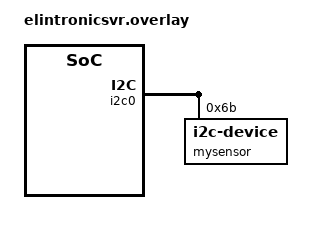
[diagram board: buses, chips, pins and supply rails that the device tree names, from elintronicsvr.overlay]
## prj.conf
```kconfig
#
# Copyright (c) 2019 Nordic Semiconductor ASA
#
# SPDX-License-Identifier: LicenseRef-Nordic-5-Clause
#
CONFIG_NCS_SAMPLES_DEFAULTS=y

CONFIG_BT=y
CONFIG_BT_DEBUG_LOG=y
CONFIG_BT_MAX_CONN=2
CONFIG_BT_MAX_PAIRED=2
CONFIG_BT_L2CAP_TX_BUF_COUNT=5
CONFIG_BT_PERIPHERAL=y
CONFIG_BT_DEVICE_NAME="vr_2_4_1_NINA"
CONFIG_BT_DEVICE_APPEARANCE=962

CONFIG_BT_BAS=y
CONFIG_BT_HIDS=y
CONFIG_BT_HIDS_MAX_CLIENT_COUNT=2
CONFIG_BT_GATT_UUID16_POOL_SIZE=40
CONFIG_BT_GATT_CHRC_POOL_SIZE=20

CONFIG_BT_CONN_CTX=y

CONFIG_BT_DIS=y
CONFIG_BT_DIS_PNP=y
CONFIG_BT_DIS_MANUF="NordicSemiconductor"
CONFIG_BT_DIS_PNP_VID_SRC=2
CONFIG_BT_DIS_PNP_VID=0x1915
CONFIG_BT_DIS_PNP_PID=0xEEEE
CONFIG_BT_DIS_PNP_VER=0x0100

CONFIG_MAIN_STACK_SIZE=1536
CONFIG_SYSTEM_WORKQUEUE_STACK_SIZE=2048

CONFIG_DK_LIBRARY=y

CONFIG_I2C=y
CONFIG_CBPRINTF_FP_SUPPORT=y

#interval and timeout settings (min 6 = 7.5 ms)
CONFIG_BT_PERIPHERAL_PREF_MIN_INT=6
CONFIG_BT_PERIPHERAL_PREF_MAX_INT=6
CONFIG_BT_PERIPHERAL_PREF_LATENCY=0
CONFIG_BT_PERIPHERAL_PREF_TIMEOUT=400
CONFIG_BT_GAP_AUTO_UPDATE_CONN_PARAMS=y
```

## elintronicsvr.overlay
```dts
// To get started, press Ctrl+Space to bring up the completion menu and view the available nodes.

// You can also use the buttons in the sidebar to perform actions on nodes.
// Actions currently available include:

// * Enabling / disabling the node
// * Adding the bus to a bus
// * Removing the node
// * Connecting ADC channels

// For more help, browse the DeviceTree documentation at https://docs.zephyrproject.org/latest/guides/dts/index.html
// You can also visit the nRF DeviceTree extension documentation at https://nrfconnect.github.io/vscode-nrf-connect/devicetree/nrfdevicetree.html

&i2c0 {  
    mysensor: mysensor@6B{
        compatible = "i2c-device";
        status = "okay";
        reg = < 0x6B >;
    };
};
```

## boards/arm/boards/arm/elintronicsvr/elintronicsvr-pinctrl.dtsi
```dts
&pinctrl {
	uart0_default: uart0_default {
		group1 {
			psels = <NRF_PSEL(UART_TX, 0, 25)>;				
		};
		group2 {
			psels = <NRF_PSEL(UART_RX, 0, 24)>;				
			bias-pull-up;
		};
	};

	uart0_sleep: uart0_sleep {
		group1 {
			psels = <NRF_PSEL(UART_TX, 0, 25)>,
				<NRF_PSEL(UART_RX, 0, 24)>;				
			low-power-enable;
		};
	};

	i2c0_default: i2c0_default {
		group1 {
			psels = <NRF_PSEL(TWIM_SDA, 0, 6)>,
				<NRF_PSEL(TWIM_SCL, 0, 26)>;
		};
	};

	i2c0_sleep: i2c0_sleep {
		group1 {
			psels = <NRF_PSEL(TWIM_SDA, 0, 6)>,
				<NRF_PSEL(TWIM_SCL, 0, 26)>;
			low-power-enable;
		};
	};

};
```

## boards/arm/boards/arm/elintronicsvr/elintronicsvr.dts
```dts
// Copyright (c) 2023 Nordic Semiconductor ASA
// SPDX-License-Identifier: Apache-2.0

/dts-v1/;
#include <nordic/nrf52840_qiaa.dtsi>
#include "elintronicsvr-pinctrl.dtsi"

/ {
	model = "elintronicsvr";
	compatible = "elintronicsvr";

	chosen {
		zephyr,sram = &sram0;
		zephyr,flash = &flash0;
		zephyr,code-partition = &slot0_partition;
		zephyr,console = &uart0;
		zephyr,shell-uart = &uart0;
		zephyr,uart-mcumgr = &uart0;
		zephyr,bt-mon-uart = &uart0;
		zephyr,bt-c2h-uart = &uart0;
		zephyr,ieee802154 = &ieee802154;
	};

	leds {
		compatible = "gpio-leds";
		ledblue: led_0 {
			gpios = <&gpio1 14 0>;
			label = "BLUE LED";
		};
	};

	buttons {
		compatible = "gpio-keys";
		button0: button_0 {
			gpios = <&gpio1 10 (GPIO_PULL_UP | GPIO_ACTIVE_LOW)>;
			label = "Push button switch 0";
		};
		button1: button_1 {
			gpios = <&gpio1 11 (GPIO_PULL_UP | GPIO_ACTIVE_LOW)>;
			label = "Push button switch 1";
		};
	};

	aliases {
		ledblue = &ledblue;	
		button0 = &button0;	
	};
};

&gpiote {
	status = "okay";
};

&gpio0 {
	status = "okay";
};

&gpio1 {
	status = "okay";
};

&uart0 {
	compatible = "nordic,nrf-uarte";
	status = "okay";
	current-speed = <115200>;
	pinctrl-0 = <&uart0_default>;
	pinctrl-1 = <&uart0_sleep>;
	pinctrl-names = "default", "sleep";
};

&i2c0 {
	compatible = "nordic,nrf-twi";
	status = "okay";
	pinctrl-0 = <&i2c0_default>;
	pinctrl-1 = <&i2c0_sleep>;
	pinctrl-names = "default", "sleep";
};


&flash0 {
	partitions {
		compatible = "fixed-partitions";
		#address-cells = <1>;
		#size-cells = <1>;

		boot_partition: partition@0 {
			label = "mcuboot";
			reg = <0x0 0xc000>;
		};
		slot0_partition: partition@c000 {
			label = "image-0";
			reg = <0xc000 0x72000>;
		};
		slot1_partition: partition@7e000 {
			label = "image-1";
			reg = <0x7e000 0x72000>;
		};
		scratch_partition: partition@f0000 {
			label = "image-scratch";
			reg = <0xf0000 0xa000>;
		};
		storage_partition: partition@fa000 {
			label = "storage";
			reg = <0xfa000 0x6000>;
		};
	};
};

&ieee802154 {
	status = "okay";
};
```

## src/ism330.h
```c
#ifndef ISM330_H
#define ISM330_H

#include <zephyr/drivers/i2c.h>
#include "ism330dhcx_reg.h"

/* Private variables ---------------------------------------------------------*/
extern int16_t data_raw_acceleration[3];
extern int16_t data_raw_angular_rate[3];
//static int16_t data_raw_temperature;
extern float acceleration_mg[3];
extern float angular_rate_mdps[3];
//static float temperature_degC;
extern uint8_t whoamI, rst;
//static uint8_t tx_buffer[1000];

#define SLEEP_MS 25

#define I2C0_NODE DT_NODELABEL(mysensor)
static const struct i2c_dt_spec dev_i2c = I2C_DT_SPEC_GET(I2C0_NODE);

typedef struct gyro_angle_struct {
    int16_t r;
    int16_t p;
    int16_t y;
} gyro_angle;

extern gyro_angle ISM_gyro_angle;

typedef struct accel_struct {
    int16_t last_accel_y;
    int16_t diff_accel_y;
    int16_t mov_av_buf[4];
} accel;

extern accel ISM_accel;


extern stmdev_ctx_t dev_ctx;

int32_t platform_write(void *handle, uint8_t reg, const uint8_t *bufp, uint16_t len);
int32_t platform_read(void *handle, uint8_t reg, uint8_t *bufp, uint16_t len);

int ISM_Initialize(void);
void printRawAccel(void);
void printRawAng(void);
int getRawAngDeg(void);

//int ISMupdate(void);
float_t gyro_fs2000dps_to_dps(int16_t lsb);
int getRawAccMg(void);


#endif
```

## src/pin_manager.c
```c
#include "pin_manager.h"

//static struct gpio_dt_spec led = GPIO_DT_SPEC_GET(LEDBLUE_NODE, gpios);

void PIN_MANAGER_Initialize (void)
{
    int ret;

    /* Configure LEDBLUE */
	if (!device_is_ready(led.port)) {
		return;
	}

	ret = gpio_pin_configure_dt(&led, GPIO_OUTPUT_ACTIVE);
	if (ret < 0) {
		return;
	}

	/* Configure BUTTON0 */
	
	if (!device_is_ready(button.port)) {
		return;
	}

	ret = gpio_pin_configure_dt(&button, GPIO_INPUT | GPIO_PULL_UP);
	if (ret < 0) {
		return;
	}

	//Configure the interrupt on the button's pin 
	ret = gpio_pin_interrupt_configure_dt(&button, GPIO_INT_EDGE_TO_ACTIVE );

	/* Configure BUTTON1 */

	if (!device_is_ready(button1.port)) {
		return;
	}

	ret = gpio_pin_configure_dt(&button1, GPIO_INPUT | GPIO_PULL_UP);
	if (ret < 0) {
		return;
	}

	//Configure the interrupt on the button's pin 
	ret = gpio_pin_interrupt_configure_dt(&button1, GPIO_INT_EDGE_TO_ACTIVE );
	
}
```

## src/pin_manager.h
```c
#ifndef PIN_MANAGER_H
#define PIN_MANAGER_H

#include <zephyr/kernel.h>
#include <zephyr/drivers/gpio.h>
#include <zephyr/device.h>
#include <zephyr/devicetree.h>


//LEDBLUE 
#define LEDBLUE_NODE DT_NODELABEL(ledblue)
static const struct gpio_dt_spec led = GPIO_DT_SPEC_GET(LEDBLUE_NODE, gpios);

//BUTTON0
#define BUTTON0_NODE DT_NODELABEL(button0)
static const struct gpio_dt_spec button = GPIO_DT_SPEC_GET(BUTTON0_NODE, gpios);

//BUTTON1
#define BUTTON1_NODE DT_NODELABEL(button1)
static const struct gpio_dt_spec button1 = GPIO_DT_SPEC_GET(BUTTON1_NODE, gpios);

#define LEDBLUE_SetHigh()   gpio_pin_set_dt(&led,1)
#define LEDBLUE_SetLow()    gpio_pin_set_dt(&led,0)
#define LEDBLUE_Toggle()    gpio_pin_toggle_dt(&led)

#define BUTTON0_getVal()    gpio_pin_get_dt(&button)
#define BUTTON1_getVal()    gpio_pin_get_dt(&button1)

void PIN_MANAGER_Initialize (void);


#endif
```
